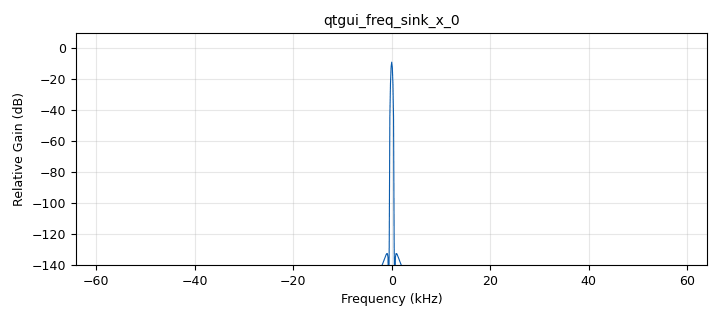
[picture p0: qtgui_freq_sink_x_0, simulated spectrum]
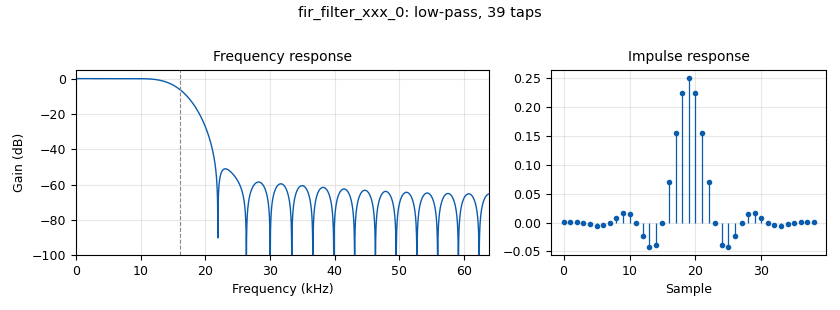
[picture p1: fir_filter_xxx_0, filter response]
options:
  parameters:
    author: kon
    generate_options: qt_gui
    id: samp_rate_change
    output_language: python
    title: Not titled yet
  states: {}

blocks:
- name: decimation_rate
  id: variable
  parameters:
    value: '4'
  states: {}
- name: frequency
  id: variable_qtgui_range
  parameters:
    start: '-samp_rate/2'
    step: '1'
    stop: samp_rate/2
    value: '0'
  states: {}
- name: lowPassTaps
  id: variable_low_pass_filter_taps
  parameters:
    cutoff_freq: samp_rate_decimated / (decimation_rate * 2)
    gain: '1.0 '
    samp_rate: samp_rate_decimated
    width: samp_rate_decimated / (decimation_rate * 4)
    win: window.WIN_HAMMING
  states: {}
- name: samp_rate
  id: variable
  parameters:
    value: '32000'
  states: {}
- name: samp_rate_decimated
  id: variable
  parameters:
    value: samp_rate * decimation_rate
  states: {}
- name: analog_sig_source_x_0
  id: analog_sig_source_x
  parameters:
    amp: '1'
    freq: frequency
    offset: '0'
    phase: '0'
    samp_rate: samp_rate
    type: complex
    waveform: analog.GR_COS_WAVE
  states: {}
- name: blocks_throttle_0
  id: blocks_throttle
  parameters:
    samples_per_second: samp_rate_decimated
    type: complex
  states: {}
- name: fir_filter_xxx_0
  id: fir_filter_xxx
  parameters:
    decim: '1'
    taps: lowPassTaps
    type: ccc
  states: {}
- name: qtgui_freq_sink_x_0
  id: qtgui_freq_sink_x
  parameters:
    bw: samp_rate_decimated
    fc: '0'
    fftsize: '1024'
    type: complex
  states: {}

connections:
- [analog_sig_source_x_0, '0', fir_filter_xxx_0, '0']
- [blocks_throttle_0, '0', qtgui_freq_sink_x_0, '0']
- [fir_filter_xxx_0, '0', blocks_throttle_0, '0']

metadata:
  file_format: 1
  grc_version: 3.10.2.0
